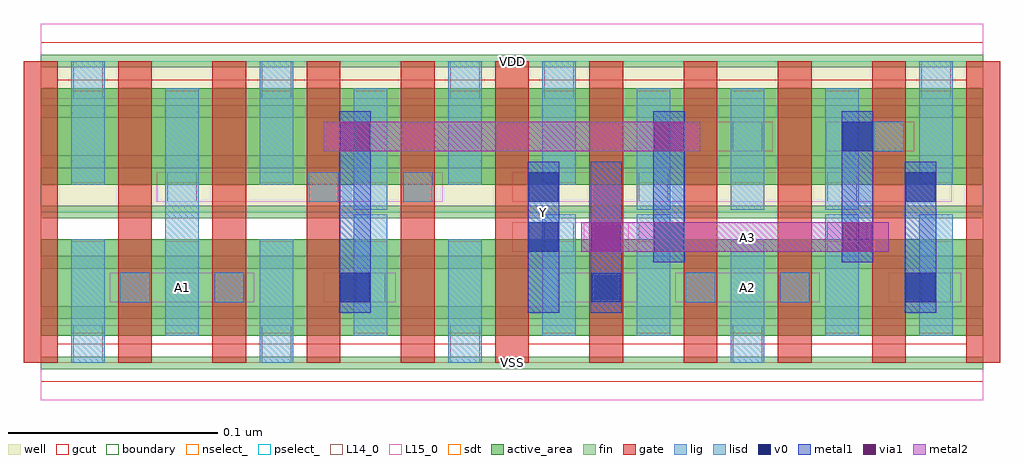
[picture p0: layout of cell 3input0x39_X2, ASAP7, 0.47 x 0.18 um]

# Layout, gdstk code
import gdstk
lib = gdstk.Library(unit=1e-6, precision=2.5e-10)
def R(c, l, rs):  # rectangles x0, y0, x1, y1
    for r in rs: c.add(gdstk.rectangle(r[:2], r[2:], *l))
def A(c, l, x, y, w, h, nx, ny, dx, dy):  # array of equal rectangles
    R(c, l, [(x+i*dx, y+j*dy, x+i*dx+w, y+j*dy+h) for i in range(nx) for j in range(ny)])
def P(c, l, *ps):  # polygons
    for p in ps: c.add(gdstk.Polygon(p, *l))
well = (1, 0)
fin = (2, 0)
gate = (7, 0)
gcut = (10, 0)
active_area = (11, 0)
nselect_ = (12, 0)
pselect_ = (13, 0)
L14_0 = (14, 0)
L15_0 = (15, 0)
lig = (16, 0)
lisd = (17, 0)
v0 = (18, 0)
metal1 = (19, 0)
metal2 = (20, 0)
via1 = (21, 0)
sdt = (88, 0)
boundary = (100, 0)

c_3input0x39_x2 = lib.new_cell('3input0x39_X2')
R(c_3input0x39_x2, well, [(0,0.072,0.45,0.144)])
A(c_3input0x39_x2, fin, 0, -0.003, 0.45, 0.006, 1, 7, 0, 0.024)
A(c_3input0x39_x2, gate, -0.008, 0, 0.016, 0.144, 11, 1, 0.045, 0)
P(c_3input0x39_x2, gcut, [(0,-0.009),(0,0),(-0.008,0),(-0.008,0.135),(0.008,0.135),(0.008,0.009),(0.217,0.009),(0.217,0.135),(0.233,0.135),(0.233,0.009),(0.442,0.009),(0.442,0.135),(-0.008,0.135),(-0.008,0.144),(0,0.144),(0,0.153),(0.45,0.153),(0.45,0.144),(0.458,0.144),(0.458,0),(0.45,0),(0.45,-0.009)])
R(c_3input0x39_x2, active_area, [(0,0.013,0.45,0.059), (0,0.085,0.45,0.131)])
R(c_3input0x39_x2, nselect_, [(0,0,0.45,0.072)])
R(c_3input0x39_x2, pselect_, [(0,0.072,0.45,0.144)])
A(c_3input0x39_x2, L14_0, 0.0155, 0, 0.014, 0.018, 3, 2, 0.09, 0.126)
A(c_3input0x39_x2, L14_0, 0.263, 0.029, 0.014, 0.014, 3, 1, 0.045, 0)
R(c_3input0x39_x2, L14_0, [(0.3305,0,0.3445,0.018), (0.038,0.029,0.052,0.043), (0.083,0.029,0.097,0.043), (0.1505,0.029,0.1645,0.043), (0.4205,0.029,0.4345,0.043), (0.2405,0.053,0.2545,0.067), (0.2855,0.053,0.2995,0.067), (0.3755,0.053,0.3895,0.067), (0.0605,0.077,0.0745,0.091), (0.128,0.077,0.142,0.091), (0.173,0.077,0.187,0.091), (0.2855,0.077,0.2995,0.091), (0.3755,0.077,0.3895,0.091), (0.1505,0.101,0.1645,0.115), (0.3305,0.101,0.3445,0.115), (0.398,0.101,0.412,0.115), (0.2405,0.126,0.2545,0.144), (0.4205,0.126,0.4345,0.144)])
R(c_3input0x39_x2, L15_0, [(0,-0.018,0.45,0.018), (0.033,0.029,0.102,0.043), (0.135,0.029,0.1695,0.043), (0.2475,0.029,0.285,0.043), (0.303,0.029,0.372,0.043), (0.405,0.029,0.4395,0.043), (0.225,0.053,0.2595,0.067), (0.2805,0.053,0.3945,0.067), (0.0555,0.077,0.192,0.091), (0.225,0.077,0.435,0.091), (0.1455,0.101,0.3495,0.115), (0.375,0.101,0.417,0.115), (0,0.126,0.45,0.162)])
A(c_3input0x39_x2, lig, 0.263, 0.029, 0.014, 0.014, 3, 1, 0.045, 0)
R(c_3input0x39_x2, lig, [(0.038,0.029,0.052,0.043), (0.083,0.029,0.097,0.043), (0.128,0.077,0.142,0.091), (0.173,0.077,0.187,0.091), (0.398,0.101,0.412,0.115)])
A(c_3input0x39_x2, lisd, 0.0145, 0, 0.016, 0.059, 3, 2, 0.09, 0.085)
A(c_3input0x39_x2, lisd, 0.2845, 0.073, 0.016, 0.058, 3, 1, 0.045, 0)
R(c_3input0x39_x2, lisd, [(0.3295,0,0.3455,0.059), (0.0595,0.013,0.0755,0.131), (0.1495,0.013,0.1655,0.071), (0.2395,0.013,0.2555,0.071), (0.2845,0.013,0.3005,0.071), (0.3745,0.013,0.3905,0.071), (0.4195,0.013,0.4355,0.071), (0.1495,0.073,0.1655,0.131), (0.2395,0.085,0.2555,0.144), (0.4195,0.085,0.4355,0.144)])
R(c_3input0x39_x2, v0, [(0.143,0.029,0.157,0.043), (0.263,0.029,0.277,0.043), (0.413,0.029,0.427,0.043), (0.233,0.053,0.247,0.067), (0.293,0.053,0.307,0.067), (0.233,0.077,0.247,0.091), (0.413,0.077,0.427,0.091), (0.383,0.101,0.397,0.115)])
R(c_3input0x39_x2, metal1, [(0.1425,0.024,0.1575,0.12), (0.2325,0.024,0.2475,0.096), (0.2625,0.024,0.2775,0.096), (0.4125,0.024,0.4275,0.096), (0.2925,0.048,0.3075,0.12), (0.3825,0.048,0.3975,0.12)])
R(c_3input0x39_x2, metal2, [(0.258,0.053,0.405,0.067), (0.135,0.101,0.315,0.115)])
R(c_3input0x39_x2, via1, [(0.263,0.053,0.277,0.067), (0.383,0.053,0.397,0.067), (0.143,0.101,0.157,0.115), (0.293,0.101,0.307,0.115)])
A(c_3input0x39_x2, sdt, 0.0145, 0.014, 0.016, 0.044, 10, 2, 0.045, 0.072)
R(c_3input0x39_x2, boundary, [(0,0,0.45,0.144)])
c_3input0x39_x2.add(gdstk.Label('VSS', (0.225,0), layer=15, texttype=251))
c_3input0x39_x2.add(gdstk.Label('VDD', (0.225,0.144), layer=15, texttype=251))
c_3input0x39_x2.add(gdstk.Label('A2', (0.3375,0.036), layer=15, texttype=251))
c_3input0x39_x2.add(gdstk.Label('VSS', (0.225,0), layer=15, texttype=251))
c_3input0x39_x2.add(gdstk.Label('VDD', (0.225,0.144), layer=15, texttype=251))
c_3input0x39_x2.add(gdstk.Label('VSS', (0.225,0), layer=15, texttype=251))
c_3input0x39_x2.add(gdstk.Label('VDD', (0.225,0.144), layer=15, texttype=251))
c_3input0x39_x2.add(gdstk.Label('A1', (0.0675,0.036), layer=15, texttype=251))
c_3input0x39_x2.add(gdstk.Label('VSS', (0.225,0), layer=15, texttype=251))
c_3input0x39_x2.add(gdstk.Label('VDD', (0.225,0.144), layer=15, texttype=251))
c_3input0x39_x2.add(gdstk.Label('A3', (0.3375,0.06), layer=20, texttype=251))
c_3input0x39_x2.add(gdstk.Label('VSS', (0.225,0), layer=3, texttype=251))
c_3input0x39_x2.add(gdstk.Label('VSS', (0.225,0), layer=3, texttype=251))
c_3input0x39_x2.add(gdstk.Label('VSS', (0.225,0), layer=3, texttype=251))
c_3input0x39_x2.add(gdstk.Label('VSS', (0.225,0), layer=3, texttype=251))
c_3input0x39_x2.add(gdstk.Label('VDD', (0.225,0.144), layer=1, texttype=251))
c_3input0x39_x2.add(gdstk.Label('VDD', (0.225,0.144), layer=1, texttype=251))
c_3input0x39_x2.add(gdstk.Label('VDD', (0.225,0.144), layer=1, texttype=251))
c_3input0x39_x2.add(gdstk.Label('VDD', (0.225,0.144), layer=1, texttype=251))
c_3input0x39_x2.add(gdstk.Label('Y', (0.24,0.072), layer=19, texttype=251))

lib.write_gds('3input0x39_X2.gds')
